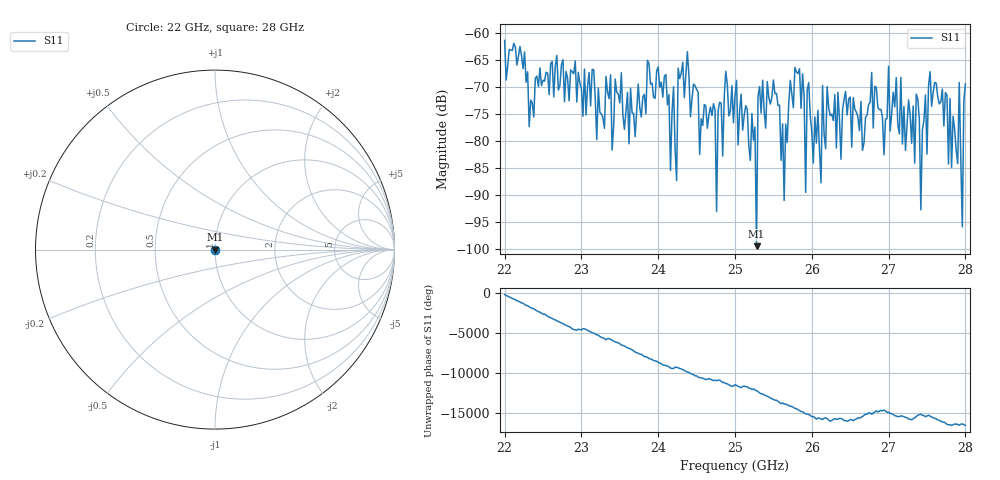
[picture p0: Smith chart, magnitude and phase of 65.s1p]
#  HZ  S  RI  R  50.00
! Rohde & Schwarz ZVA40 4Ports - Version 3.90 - 1145.1110k42 SN: 100403
! Date: 2023-10-04 07:49:23
! Measurement: S12
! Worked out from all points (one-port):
!   301 points, 22 GHz to 28 GHz, reference 50 ohm
!   lowest |S11| = -99.5 dB at 25.28 GHz (marker M1), VSWR 1.00, Z = 50 + j6.76e-05 ohm
!   |S11| at or under -10 dB: start of sweep to end of sweep
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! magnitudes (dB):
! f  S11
! 22 GHz  -61.4
! 22.26 GHz  -63.5
! 22.32 GHz  -77.4
! 22.76 GHz  -65.0
! 23.02 GHz  -75.4
! 23.16 GHz  -66.8
! 23.2 GHz  -79.8
! 23.22 GHz  -70.2
! 23.5 GHz  -73.0
! 23.7 GHz  -79.2
! 24 GHz  -66.3
! 24.24 GHz  -87.4
! 24.26 GHz  -66.5
! 24.38 GHz  -63.5
! 24.54 GHz  -82.5
! 25 GHz  -71.6
! 25.28 GHz  -99.5
! 25.36 GHz  -68.8
! 25.4 GHz  -77.6
! 25.76 GHz  -73.9
! 26.5 GHz  -71.9
! 27.26 GHz  -72.4
! 27.5 GHz  -82.5
! 27.54 GHz  -67.2
! 27.9 GHz  -84.2
! 27.92 GHz  -69.2
! 27.96 GHz  -95.9
! 28 GHz  -69.5
